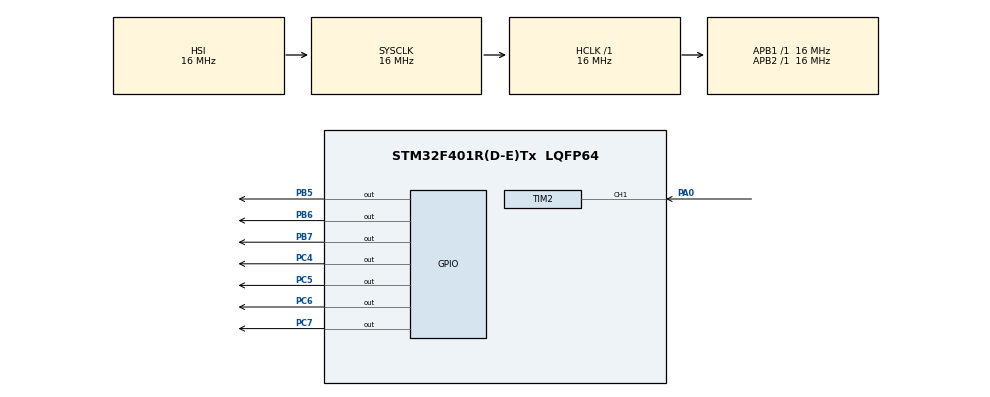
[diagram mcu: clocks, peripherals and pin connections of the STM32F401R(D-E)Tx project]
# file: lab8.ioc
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Mcu.Family=STM32F4
Mcu.Name=STM32F401R(D-E)Tx
Mcu.Package=LQFP64
NVIC.PriorityGroup=NVIC_PRIORITYGROUP_4
NVIC.TIM2_IRQn=true\:0\:0\:false\:false\:true\:true\:true\:true
NVIC.TIM3_IRQn=true\:0\:0\:false\:false\:true\:true\:true\:true
PA0-WKUP.Signal=S_TIM2_CH1_ETR
PB5.Signal=GPIO_Output
PB6.Signal=GPIO_Output
PB7.Signal=GPIO_Output
PC4.Signal=GPIO_Output
PC5.Signal=GPIO_Output
PC6.Signal=GPIO_Output
PC7.Signal=GPIO_Output
ProjectManager.HeapSize=0x200
ProjectManager.StackSize=0x400
ProjectManager.TargetToolchain=MDK-ARM V5.32
RCC.AHBFreq_Value=16000000
RCC.APB1Freq_Value=16000000
RCC.APB1TimFreq_Value=16000000
RCC.APB2Freq_Value=16000000
RCC.APB2TimFreq_Value=16000000
RCC.CortexFreq_Value=16000000
RCC.HCLKFreq_Value=16000000
RCC.HSE_VALUE=25000000
RCC.HSI_VALUE=16000000
RCC.LSE_VALUE=32768
RCC.SYSCLKFreq_VALUE=16000000
RCC.VCOOutputFreq_Value=192000000
SH.S_TIM2_CH1_ETR.0=TIM2_CH1,Input_Capture1_from_TI1
TIM2.AutoReloadPreload=TIM_AUTORELOAD_PRELOAD_DISABLE
TIM2.Channel-Input_Capture1_from_TI1=TIM_CHANNEL_1
TIM2.ICFilter_CH1=15
TIM2.ICPolarity_CH1=TIM_INPUTCHANNELPOLARITY_BOTHEDGE
TIM2.Period=4294967
TIM2.Prescaler=15999
TIM3.Period=9
TIM3.Prescaler=15999
TIM5.Prescaler=15999
VP_TIM2_VS_ClockSourceINT.Mode=Internal
VP_TIM3_VS_ClockSourceINT.Mode=Internal
VP_TIM5_VS_ClockSourceINT.Mode=Internal
board=custom

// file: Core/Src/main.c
/* USER CODE BEGIN Header */
/**
  ******************************************************************************
  * @file           : main.c
  * @brief          : Main program body
  ******************************************************************************
  * @attention
  *
  * Copyright (c) 2022 STMicroelectronics.
  * All rights reserved.
  *
  * This software is licensed under terms that can be found in the LICENSE file
  * in the root directory of this software component.
  * If no LICENSE file comes with this software, it is provided AS-IS.
  *
  ******************************************************************************
  */
/* USER CODE END Header */
#include "main.h"

/* USER CODE BEGIN Includes */
#define IDLE   0
#define DONE   1
#define F_CLK  72000000UL
volatile uint8_t gu8_State = IDLE;
volatile uint8_t gu8_MSG[35] = {'\0'};
volatile uint32_t gu32_T1 = 0;
volatile uint32_t gu32_T2 = 0;
volatile uint32_t start = 0;

int temp=0;
/* USER CODE END Includes */

 TIM_HandleTypeDef htim2;
TIM_HandleTypeDef htim3;
TIM_HandleTypeDef htim5;

void SystemClock_Config(void);
static void MX_GPIO_Init(void);
static void MX_TIM2_Init(void);
static void MX_TIM3_Init(void);
static void MX_TIM5_Init(void);
char* convertIntegerToChar(uint32_t N);

/* USER CODE BEGIN 0 */
void delayMs(int n) {
		int j;
    int i;
    for (; n>0; n--)
        for (i = 0; i < 3195; i++) {}
}

void LCD_command(unsigned char command) {
    GPIOB->ODR &= ~(1<<6)  ;                         /* RS = 0, R/W = 0 */
	  GPIOB->ODR &= ~(1<<5)  ;
		GPIOC->BSRR = 0X00FF0000;
	  GPIOC->ODR  = command;                           /* put command on data bus */
    delayMs(0);
	  GPIOB->ODR |= (1<<7);                           /* pulse EN high */
    delayMs(0);
    GPIOB->ODR &= ~(1<<7);                             /* clear EN */

    if (command < 4)
        delayMs(2);         /* command 1 and 2 needs up to 1.64ms */
    else
        delayMs(1);         /* all others 40 us */
}
char* convertIntegerToChar(uint32_t N)
{
    int m = N;
    int digit = 0;
    while (m) {
        digit++;

        m /= 10;
    }
    char* arr;
    char arr1[digit];
    arr = (char*)malloc(digit);
    int index = 0;
    while (N) {
        arr1[++index] = N % 10 + '0';

        N /= 10;
    }
    int i;
    for (i = 0; i < index; i++) {
        arr[i] = arr1[index - i];
    }
    arr[i] = '\0';
    return (char*)arr;
}
void LCD_data(unsigned char data) {
		//LCD_ready();
		char low4,high4;
		low4=data & 0x0f;
		high4=data&0xf0;
    GPIOB->ODR |= (1<<5)  ;                    /* RS = 1 */
    GPIOB->ODR &= ~(1<<6)  ;                    /* R/W = 0 */
		GPIOC->BSRR = 0X00FF0000;
		GPIOC->ODR = high4  ;                 /* put data on data bus */
    GPIOB->ODR |= (1<<7);                   /* pulse EN high */
    delayMs(0);
    GPIOB->ODR &= ~(1<<7);                   /* clear EN */
    delayMs(1);
		GPIOC->ODR = low4<<4  ;                 /* put data on data bus */
    GPIOB->ODR |= (1<<7);                   /* pulse EN high */
    delayMs(0);
    GPIOB->ODR &= ~(1<<7);                   /* clear EN */
    delayMs(1);
}
void LCD_init(void) {
    delayMs(20);            /* initialization sequence */
    LCD_command(0x30);
    delayMs(5);
    LCD_command(0x30);
    delayMs(1);
    LCD_command(0x30);
    LCD_command(0x20);
		LCD_command(0x20);
		LCD_command(0x80);
		LCD_command(0x0);
	  LCD_command(0x80);
		LCD_command(0x0);
	  LCD_command(0xc0);
    LCD_command(0x00);
    LCD_command(0x60);
	  LCD_command(0x10);
    LCD_command(0x80);
    LCD_command(0x00);
    LCD_command(0x10);
    LCD_command(0x00);
    LCD_command(0xF0);
}
void LCD_clear(){
LCD_command(0x00);
LCD_command(0x10);
}
void write(int i){
				uint32_t j=i;
				int count=0;
				while (j>0){
				j=j/10;
				count=count+1;
					}
				char* arr = convertIntegerToChar(i);
				for (int t = 0; t < count; t++){
					LCD_data(arr[t]);
				}

}
void HAL_TIM_PeriodElapsedCallback(TIM_HandleTypeDef* htim){
				uint32_t sadom=0;
				uint32_t second = 0;
				uint32_t min = 0;
			if ( htim->Instance == TIM3){
				LCD_clear();
				uint32_t i=__HAL_TIM_GET_COUNTER(&htim5);
				sadom=(i%1000)/10;
				second = (i/1000)%60;
				uint32_t min = i/60000;
				if (min>0) write(min);
				else LCD_data('0');
				LCD_data(':');
				if (second>0) write(second);
				else LCD_data('0');
				LCD_data(':');
				write(sadom);

	}
}

void HAL_TIM_IC_CaptureCallback(TIM_HandleTypeDef* htim)
	{
	if (htim->Instance == TIM2){
			if(temp!=0){
    if(gu8_State == IDLE)
    {
			__HAL_TIM_SetCounter(&htim2,0);
			gu32_T1 = 0;
			gu8_State=DONE;
    }
    else if(gu8_State == DONE)
    {
        gu32_T2 = __HAL_TIM_GetCompare(&htim2,TIM_CHANNEL_1);
				uint32_t time =gu32_T2-gu32_T1;
			__HAL_TIM_SetCounter(&htim2,0);
			if (time>=500){
				LCD_clear();
				LCD_data('0');
				LCD_data(':');
				LCD_data('0');
				LCD_data(':');
				LCD_data('0');
			__HAL_TIM_SetCounter(&htim5,0);
			__HAL_TIM_SetCounter(&htim3,0);
			}
			else{
			if (start ==1){
					start = 0;
					HAL_TIM_Base_Stop(&htim5);
					HAL_TIM_Base_Stop_IT(&htim3);
				}
				else{
				start=1;
				HAL_TIM_Base_Start(&htim5);
				HAL_TIM_Base_Start_IT(&htim3);
				}
			}
				gu8_State = IDLE;
				gu32_T1=0;
				gu32_T1=0;
    }}
	temp=temp+1;
	}

}

/* USER CODE END 0 */

int main(void)
{

  /* MCU Configuration--------------------------------------------------------*/

  /* Reset of all peripherals, Initializes the Flash interface and the Systick. */
  HAL_Init();

  /* Configure the system clock */
  SystemClock_Config();

  /* Initialize all configured peripherals */
  MX_GPIO_Init();
  MX_TIM2_Init();
  MX_TIM3_Init();
  MX_TIM5_Init();
  /* USER CODE BEGIN 2 */

	HAL_TIM_IC_Start_IT(&htim2,TIM_CHANNEL_1);
	LCD_init();

  /* USER CODE END 2 */

  /* Infinite loop */
  while (1)
  {
//LCD_data(__HAL_TIM_GET_COUNTER(&htim5)+'0');
  }
}

void SystemClock_Config(void)
{
  RCC_OscInitTypeDef RCC_OscInitStruct = {0};
  RCC_ClkInitTypeDef RCC_ClkInitStruct = {0};

  /** Configure the main internal regulator output voltage
  */
  __HAL_RCC_PWR_CLK_ENABLE();
  __HAL_PWR_VOLTAGESCALING_CONFIG(PWR_REGULATOR_VOLTAGE_SCALE2);

  /** Initializes the RCC Oscillators according to the specified parameters
  * in the RCC_OscInitTypeDef structure.
  */
  RCC_OscInitStruct.OscillatorType = RCC_OSCILLATORTYPE_HSI;
  RCC_OscInitStruct.HSIState = RCC_HSI_ON;
  RCC_OscInitStruct.HSICalibrationValue = RCC_HSICALIBRATION_DEFAULT;
  RCC_OscInitStruct.PLL.PLLState = RCC_PLL_NONE;
  if (HAL_RCC_OscConfig(&RCC_OscInitStruct) != HAL_OK)
  {
    Error_Handler();
  }

  /** Initializes the CPU, AHB and APB buses clocks
  */
  RCC_ClkInitStruct.ClockType = RCC_CLOCKTYPE_HCLK|RCC_CLOCKTYPE_SYSCLK
                              |RCC_CLOCKTYPE_PCLK1|RCC_CLOCKTYPE_PCLK2;
  RCC_ClkInitStruct.SYSCLKSource = RCC_SYSCLKSOURCE_HSI;
  RCC_ClkInitStruct.AHBCLKDivider = RCC_SYSCLK_DIV1;
  RCC_ClkInitStruct.APB1CLKDivider = RCC_HCLK_DIV1;
  RCC_ClkInitStruct.APB2CLKDivider = RCC_HCLK_DIV1;

  if (HAL_RCC_ClockConfig(&RCC_ClkInitStruct, FLASH_LATENCY_0) != HAL_OK)
  {
    Error_Handler();
  }
}

static void MX_TIM2_Init(void)
{

  TIM_ClockConfigTypeDef sClockSourceConfig = {0};
  TIM_MasterConfigTypeDef sMasterConfig = {0};
  TIM_IC_InitTypeDef sConfigIC = {0};

  htim2.Instance = TIM2;
  htim2.Init.Prescaler = 15999;
  htim2.Init.CounterMode = TIM_COUNTERMODE_UP;
  htim2.Init.Period = 4294967;
  htim2.Init.ClockDivision = TIM_CLOCKDIVISION_DIV1;
  htim2.Init.AutoReloadPreload = TIM_AUTORELOAD_PRELOAD_DISABLE;
  if (HAL_TIM_Base_Init(&htim2) != HAL_OK)
  {
    Error_Handler();
  }
  sClockSourceConfig.ClockSource = TIM_CLOCKSOURCE_INTERNAL;
  if (HAL_TIM_ConfigClockSource(&htim2, &sClockSourceConfig) != HAL_OK)
  {
    Error_Handler();
  }
  if (HAL_TIM_IC_Init(&htim2) != HAL_OK)
  {
    Error_Handler();
  }
  sMasterConfig.MasterOutputTrigger = TIM_TRGO_RESET;
  sMasterConfig.MasterSlaveMode = TIM_MASTERSLAVEMODE_DISABLE;
  if (HAL_TIMEx_MasterConfigSynchronization(&htim2, &sMasterConfig) != HAL_OK)
  {
    Error_Handler();
  }
  sConfigIC.ICPolarity = TIM_INPUTCHANNELPOLARITY_BOTHEDGE;
  sConfigIC.ICSelection = TIM_ICSELECTION_DIRECTTI;
  sConfigIC.ICPrescaler = TIM_ICPSC_DIV1;
  sConfigIC.ICFilter = 15;
  if (HAL_TIM_IC_ConfigChannel(&htim2, &sConfigIC, TIM_CHANNEL_1) != HAL_OK)
  {
    Error_Handler();
  }

}

static void MX_TIM3_Init(void)
{

  TIM_ClockConfigTypeDef sClockSourceConfig = {0};
  TIM_MasterConfigTypeDef sMasterConfig = {0};

  htim3.Instance = TIM3;
  htim3.Init.Prescaler = 15999;
  htim3.Init.CounterMode = TIM_COUNTERMODE_UP;
  htim3.Init.Period = 9;
  htim3.Init.ClockDivision = TIM_CLOCKDIVISION_DIV1;
  htim3.Init.AutoReloadPreload = TIM_AUTORELOAD_PRELOAD_DISABLE;
  if (HAL_TIM_Base_Init(&htim3) != HAL_OK)
  {
    Error_Handler();
  }
  sClockSourceConfig.ClockSource = TIM_CLOCKSOURCE_INTERNAL;
  if (HAL_TIM_ConfigClockSource(&htim3, &sClockSourceConfig) != HAL_OK)
  {
    Error_Handler();
  }
  sMasterConfig.MasterOutputTrigger = TIM_TRGO_RESET;
  sMasterConfig.MasterSlaveMode = TIM_MASTERSLAVEMODE_DISABLE;
  if (HAL_TIMEx_MasterConfigSynchronization(&htim3, &sMasterConfig) != HAL_OK)
  {
    Error_Handler();
  }

}

static void MX_TIM5_Init(void)
{

  TIM_ClockConfigTypeDef sClockSourceConfig = {0};
  TIM_MasterConfigTypeDef sMasterConfig = {0};

  htim5.Instance = TIM5;
  htim5.Init.Prescaler = 15999;
  htim5.Init.CounterMode = TIM_COUNTERMODE_UP;
  htim5.Init.Period = 4294967295;
  htim5.Init.ClockDivision = TIM_CLOCKDIVISION_DIV1;
  htim5.Init.AutoReloadPreload = TIM_AUTORELOAD_PRELOAD_DISABLE;
  if (HAL_TIM_Base_Init(&htim5) != HAL_OK)
  {
    Error_Handler();
  }
  sClockSourceConfig.ClockSource = TIM_CLOCKSOURCE_INTERNAL;
  if (HAL_TIM_ConfigClockSource(&htim5, &sClockSourceConfig) != HAL_OK)
  {
    Error_Handler();
  }
  sMasterConfig.MasterOutputTrigger = TIM_TRGO_RESET;
  sMasterConfig.MasterSlaveMode = TIM_MASTERSLAVEMODE_DISABLE;
  if (HAL_TIMEx_MasterConfigSynchronization(&htim5, &sMasterConfig) != HAL_OK)
  {
    Error_Handler();
  }

}

static void MX_GPIO_Init(void)
{
  GPIO_InitTypeDef GPIO_InitStruct = {0};

  /* GPIO Ports Clock Enable */
  __HAL_RCC_GPIOA_CLK_ENABLE();
  __HAL_RCC_GPIOC_CLK_ENABLE();
  __HAL_RCC_GPIOB_CLK_ENABLE();

  /*Configure GPIO pin Output Level */
  HAL_GPIO_WritePin(GPIOC, GPIO_PIN_4|GPIO_PIN_5|GPIO_PIN_6|GPIO_PIN_7, GPIO_PIN_RESET);

  /*Configure GPIO pin Output Level */
  HAL_GPIO_WritePin(GPIOB, GPIO_PIN_5|GPIO_PIN_6|GPIO_PIN_7, GPIO_PIN_RESET);

  /*Configure GPIO pins : PC4 PC5 PC6 PC7 */
  GPIO_InitStruct.Pin = GPIO_PIN_4|GPIO_PIN_5|GPIO_PIN_6|GPIO_PIN_7;
  GPIO_InitStruct.Mode = GPIO_MODE_OUTPUT_PP;
  GPIO_InitStruct.Pull = GPIO_NOPULL;
  GPIO_InitStruct.Speed = GPIO_SPEED_FREQ_LOW;
  HAL_GPIO_Init(GPIOC, &GPIO_InitStruct);

  /*Configure GPIO pins : PB5 PB6 PB7 */
  GPIO_InitStruct.Pin = GPIO_PIN_5|GPIO_PIN_6|GPIO_PIN_7;
  GPIO_InitStruct.Mode = GPIO_MODE_OUTPUT_PP;
  GPIO_InitStruct.Pull = GPIO_NOPULL;
  GPIO_InitStruct.Speed = GPIO_SPEED_FREQ_LOW;
  HAL_GPIO_Init(GPIOB, &GPIO_InitStruct);

}

void Error_Handler(void)
{
  __disable_irq();
  while (1)
  {
  }
}
